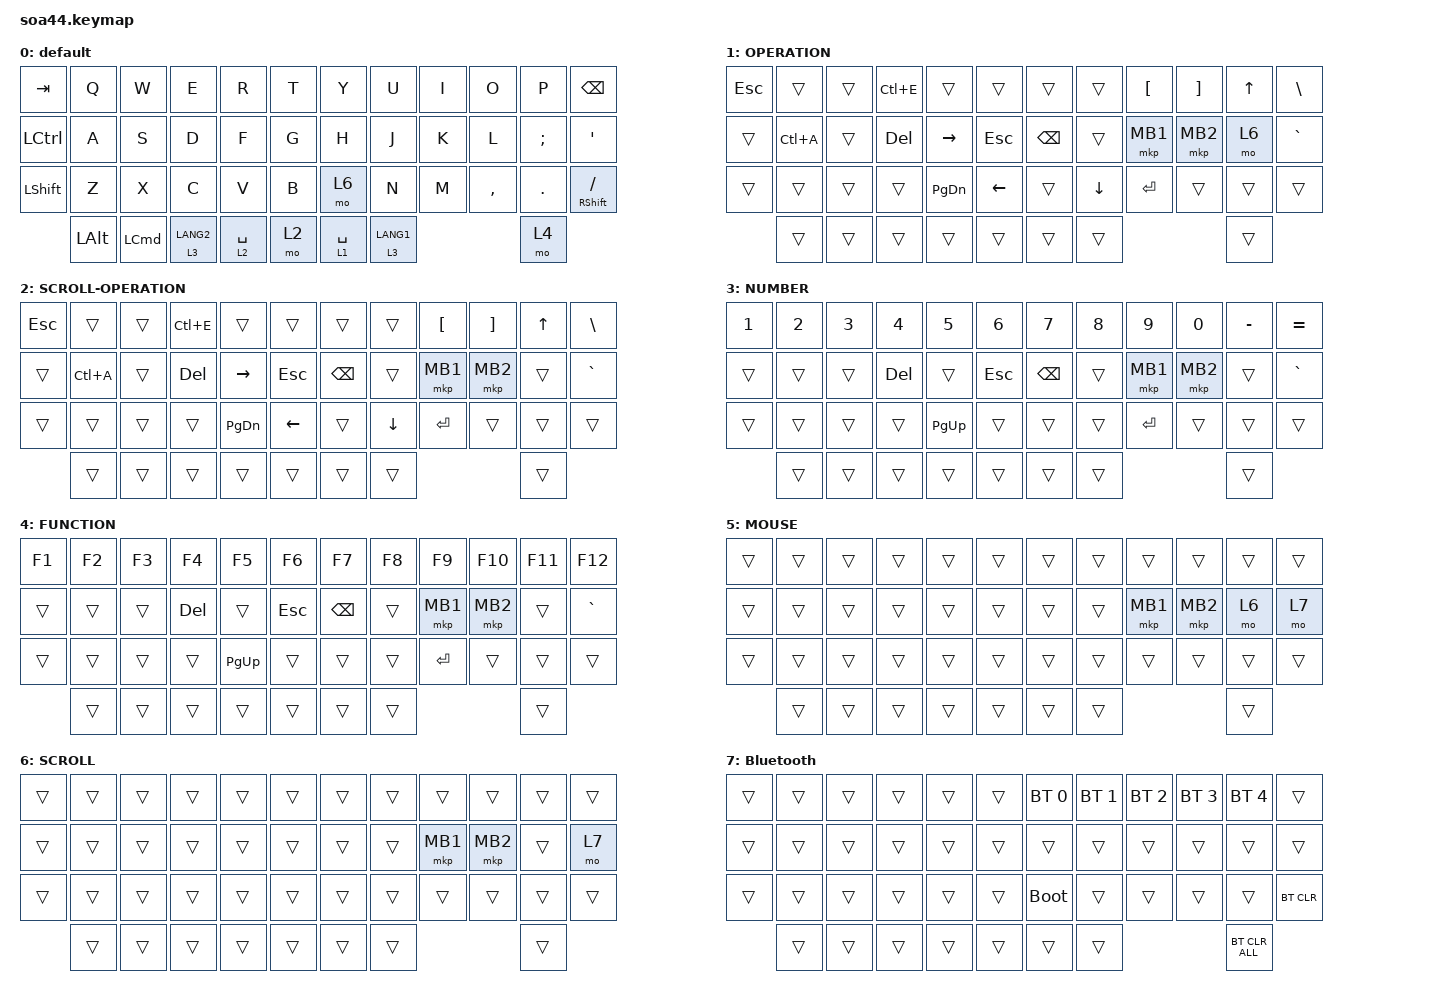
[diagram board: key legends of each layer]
#include <behaviors.dtsi>
#include <dt-bindings/zmk/bt.h>
#include <dt-bindings/zmk/keys.h>
#include <dt-bindings/zmk/pointing.h>

&mt {
    flavor = "balanced";
    quick-tap-ms = <0>;
};

&trackball {
    scroll-layers = <2 6>;

    // automouse-layer = <1>;
    // arrows {
    //     layers = <3>;
    //     bindings =
    //         <&kp RIGHT_ARROW>,
    //         <&kp LEFT_ARROW>,
    //         <&kp UP_ARROW>,
    //         <&kp DOWN_ARROW>;
    //     tick = <10>;
    //     wait-ms = <5>;
    //     tap-ms = <5>;
    // };
};

/ {
    combos { compatible = "zmk,combos"; };

    macros {
        to_layer_0: to_layer_0 {
            compatible = "zmk,behavior-macro-one-param";
            #binding-cells = <1>;
            bindings = <&to 0 &macro_param_1to1 &kp MACRO_PLACEHOLDER>;
            label = "TO_LAYER_0";
        };
    };

    behaviors {
        lt_to_layer_0: lt_to_layer_0 {
            compatible = "zmk,behavior-hold-tap";
            label = "LAYER_TAP_TO_0";
            bindings = <&mo>, <&to_layer_0>;

            #binding-cells = <2>;
            tapping-term-ms = <200>;
        };
    };

    keymap {
        compatible = "zmk,keymap";

        default {
            bindings = <
&kp TAB    &kp Q     &kp W     &kp E        &kp R        &kp T  &kp Y        &kp U        &kp I  &kp O      &kp P     &kp BACKSPACE
&kp LCTRL  &kp A     &kp S     &kp D        &kp F        &kp G  &kp H        &kp J        &kp K  &kp L      &kp SEMI  &kp SQT
&kp LSHFT  &kp Z     &kp X     &kp C        &kp V        &kp B  &mo 6        &kp N        &kp M  &kp COMMA  &kp DOT   &mt RSHIFT SLASH
           &kp LALT  &kp LCMD  &lt 3 LANG2  &lt 2 SPACE  &mo 2  &lt 1 SPACE  &lt 3 LANG1                    &mo 4
            >;
        };

        OPERATION {
            bindings = <
&kp ESC  &trans     &trans  &kp LC(E)  &trans     &trans    &trans    &trans    &kp LBKT  &kp RBKT  &kp UP  &kp BSLH
&trans   &kp LC(A)  &trans  &kp DEL    &kp RIGHT  &kp ESC   &kp BSPC  &trans    &mkp MB1  &mkp MB2  &mo 6   &kp GRAVE
&trans   &trans     &trans  &trans     &kp PG_DN  &kp LEFT  &trans    &kp DOWN  &kp RET   &trans    &trans  &trans
         &trans     &trans  &trans     &trans     &trans    &trans    &trans                        &trans
            >;
        };

        SCROLL-OPERATION {
            bindings = <
&kp ESC  &trans     &trans  &kp LC(E)  &trans     &trans    &trans    &trans    &kp LBKT  &kp RBKT  &kp UP  &kp BSLH
&trans   &kp LC(A)  &trans  &kp DEL    &kp RIGHT  &kp ESC   &kp BSPC  &trans    &mkp MB1  &mkp MB2  &trans  &kp GRAVE
&trans   &trans     &trans  &trans     &kp PG_DN  &kp LEFT  &trans    &kp DOWN  &kp RET   &trans    &trans  &trans
         &trans     &trans  &trans     &trans     &trans    &trans    &trans                        &trans
            >;
        };

        NUMBER {
            bindings = <
&kp N1  &kp N2  &kp N3  &kp N4   &kp N5     &kp N6   &kp N7    &kp N8  &kp N9    &kp N0    &kp MINUS  &kp EQUAL
&trans  &trans  &trans  &kp DEL  &trans     &kp ESC  &kp BSPC  &trans  &mkp MB1  &mkp MB2  &trans     &kp GRAVE
&trans  &trans  &trans  &trans   &kp PG_UP  &trans   &trans    &trans  &kp RET   &trans    &trans     &trans
        &trans  &trans  &trans   &trans     &trans   &trans    &trans                      &trans
            >;
        };

        FUNCTION {
            bindings = <
&kp F1  &kp F2  &kp F3  &kp F4   &kp F5     &kp F6   &kp F7    &kp F8  &kp F9    &kp F10   &kp F11  &kp F12
&trans  &trans  &trans  &kp DEL  &trans     &kp ESC  &kp BSPC  &trans  &mkp MB1  &mkp MB2  &trans   &kp GRAVE
&trans  &trans  &trans  &trans   &kp PG_UP  &trans   &trans    &trans  &kp RET   &trans    &trans   &trans
        &trans  &trans  &trans   &trans     &trans   &trans    &trans                      &trans
            >;
        };

        MOUSE {
            bindings = <
&trans  &trans  &trans  &trans  &trans  &trans  &trans  &trans  &trans    &trans    &trans  &trans
&trans  &trans  &trans  &trans  &trans  &trans  &trans  &trans  &mkp MB1  &mkp MB2  &mo 6   &mo 7
&trans  &trans  &trans  &trans  &trans  &trans  &trans  &trans  &trans    &trans    &trans  &trans
        &trans  &trans  &trans  &trans  &trans  &trans  &trans                      &trans
            >;
        };

        SCROLL {
            bindings = <
&trans  &trans  &trans  &trans  &trans  &trans  &trans  &trans  &trans    &trans    &trans  &trans
&trans  &trans  &trans  &trans  &trans  &trans  &trans  &trans  &mkp MB1  &mkp MB2  &trans  &mo 7
&trans  &trans  &trans  &trans  &trans  &trans  &trans  &trans  &trans    &trans    &trans  &trans
        &trans  &trans  &trans  &trans  &trans  &trans  &trans                      &trans
            >;
        };

        Bluetooth {
            bindings = <
&trans  &trans  &trans  &trans  &trans  &trans  &bt BT_SEL 0  &bt BT_SEL 1  &bt BT_SEL 2  &bt BT_SEL 3  &bt BT_SEL 4    &trans
&trans  &trans  &trans  &trans  &trans  &trans  &trans        &trans        &trans        &trans        &trans          &trans
&trans  &trans  &trans  &trans  &trans  &trans  &bootloader   &trans        &trans        &trans        &trans          &bt BT_CLR
        &trans  &trans  &trans  &trans  &trans  &trans        &trans                                    &bt BT_CLR_ALL
            >;
        };
    };
};
